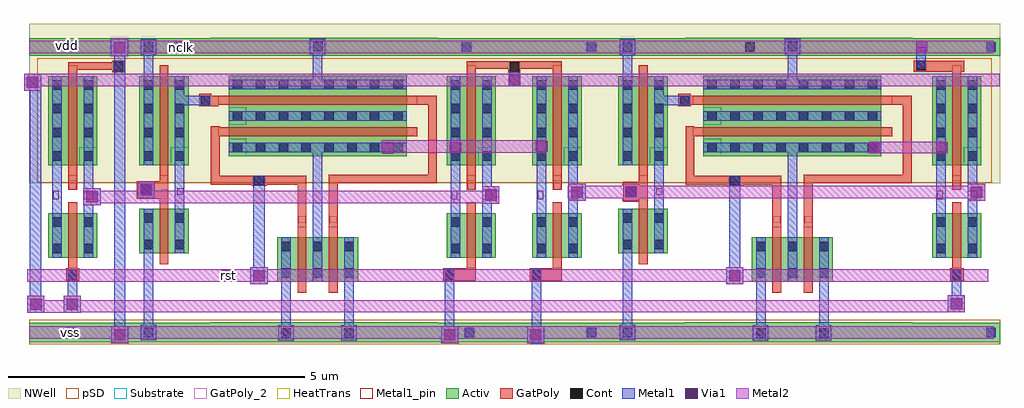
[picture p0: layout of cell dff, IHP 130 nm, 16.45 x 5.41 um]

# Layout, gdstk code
from math import pi, radians
import gdstk
lib = gdstk.Library(unit=1e-6, precision=5e-09)
def R(c, l, rs):  # rectangles x0, y0, x1, y1
    for r in rs: c.add(gdstk.rectangle(r[:2], r[2:], *l))
def A(c, l, x, y, w, h, nx, ny, dx, dy):  # array of equal rectangles
    R(c, l, [(x+i*dx, y+j*dy, x+i*dx+w, y+j*dy+h) for i in range(nx) for j in range(ny)])
Activ = (1, 0)
GatPoly = (5, 0)
GatPoly_2 = (5, 2)
Cont = (6, 0)
Metal1 = (8, 0)
Metal1_pin = (8, 2)
Metal2 = (10, 0)
pSD = (14, 0)
Via1 = (19, 0)
NWell = (31, 0)
Substrate = (40, 0)
HeatTrans = (51, 0)

nmos_5_2 = lib.new_cell('nmos$5$2')
R(nmos_5_2, Activ, [(0,0,0.3,0.3), (0,0,0.83,0.75), (0.53,0,0.83,0.3)])
R(nmos_5_2, GatPoly, [(0.34,-0.18,0.49,0.93)])
R(nmos_5_2, GatPoly_2, [(0.34,-0.18,0.49,0.93)])
R(nmos_5_2, Cont, [(0.07,0.07,0.23,0.23), (0.6,0.07,0.76,0.23), (0.07,0.52,0.23,0.68), (0.6,0.52,0.76,0.68)])
R(nmos_5_2, Metal1, [(0.07,0,0.23,0.75), (0.6,0,0.76,0.75)])
R(nmos_5_2, Metal1_pin, [(0.07,0,0.23,0.75), (0.6,0,0.76,0.75)])
R(nmos_5_2, HeatTrans, [(0.34,-0.18,0.49,0.93)])
nmos_5_2.add(gdstk.Label('nmos', (0.415,0.375), layer=63, texttype=0))
nmos_5_2.add(gdstk.Label('nmos', (0.415,0.375), layer=51, texttype=0))

pmos_5_1 = lib.new_cell('pmos$5$1')
R(pmos_5_1, Activ, [(0,0,0.3,0.3), (0,0,0.83,3), (0.53,0,0.83,0.3)])
R(pmos_5_1, GatPoly, [(0.34,-0.18,0.49,3.18), (0.34,-0.18,0.49,3.18)])
A(pmos_5_1, Cont, 0.07, 0.07, 0.16, 0.16, 1, 7, 0, 0.385)
A(pmos_5_1, Cont, 0.6, 0.07, 0.16, 0.16, 1, 7, 0, 0.385)
R(pmos_5_1, Cont, [(0.07,2.77,0.23,2.93), (0.6,2.77,0.76,2.93)])
R(pmos_5_1, Metal1, [(0.07,0,0.23,3), (0.07,0,0.23,3), (0.6,0,0.76,3), (0.6,0,0.76,3)])
R(pmos_5_1, pSD, [(-0.18,-0.3,1.01,3.3)])
R(pmos_5_1, NWell, [(-0.31,-0.31,1.14,3.31)])
R(pmos_5_1, Substrate, [(0.53,0,0.83,0.3)])
R(pmos_5_1, HeatTrans, [(0.34,-0.18,0.49,3.18)])
pmos_5_1.add(gdstk.Label('pmos', (0.415,1.5), layer=63, texttype=0))
pmos_5_1.add(gdstk.Label('pmos', (0.415,1.5), layer=51, texttype=0))

norgate_1 = lib.new_cell('norgate$1')
R(norgate_1, Activ, [(-1.48,-2.5,2.355,-2.17), (-1.47,2.325,2.355,2.625)])
R(norgate_1, GatPoly, [(-0.01,-0.56,0.14,0.15), (0.52,-0.56,0.67,0.17), (-1.47,0.15,0.14,0.3), (0.52,0.17,2.19,0.32), (2.19,0.17,2.34,1.645), (-1.47,0.3,-1.32,1.135), (-1.47,0.965,-1.35,1.135), (2.01,1.495,2.19,1.645)])
R(norgate_1, GatPoly_2, [(0.005,-0.49,0.13,-0.38), (0.535,-0.49,0.66,-0.38)])
R(norgate_1, Cont, [(-0.28,-2.43,-0.12,-2.27), (-0.28,-2.43,-0.12,-2.27), (0.78,-2.43,0.94,-2.27), (0.78,-2.43,0.94,-2.27), (0.255,2.395,0.415,2.555)])
R(norgate_1, Metal1, [(-0.335,-2.48,-0.075,-2.22), (0.725,-2.48,0.985,-2.22), (-0.28,-2.43,-0.12,-0.74), (0.78,-2.43,0.94,-0.74), (0.25,-0.74,0.41,0.695), (0.25,1.915,0.41,2.345), (0.2,2.345,0.46,2.605)])
R(norgate_1, Metal1_pin, [(-0.25,-2.39,-0.17,-2.3), (0.81,-2.39,0.89,-2.3), (0.255,2.395,0.415,2.555)])
R(norgate_1, pSD, [(-1.48,-2.54,2.355,-2.125)])
R(norgate_1, NWell, [(-1.47,0.315,2.355,2.865), (-1.47,2.295,2.355,2.865)])
norgate_1.add(gdstk.Reference(nmos_5_2, (1.01,-0.74), rotation=pi))
norgate_1.add(gdstk.Reference(nmos_5_2, (-0.35,-1.49)))
norgate_1.add(gdstk.Reference(pmos_5_1, (-1.17,1.985), rotation=3*pi/2))
norgate_1.add(gdstk.Reference(pmos_5_1, (-1.17,1.455), rotation=3*pi/2))
norgate_1.add(gdstk.Label('vdd', (0.325,2.5), layer=8, texttype=2))
norgate_1.add(gdstk.Label('vss', (-0.22,-2.335), layer=8, texttype=2))
norgate_1.add(gdstk.Label('vss', (0.84,-2.335), layer=8, texttype=2))
norgate_1.add(gdstk.Label('b', (0.07,-0.44), layer=5, texttype=2))
norgate_1.add(gdstk.Label('a', (0.6,-0.44), layer=5, texttype=2))

nmos_1 = lib.new_cell('nmos$1')
R(nmos_1, Activ, [(0,0,0.3,0.3), (0,0,0.83,0.75), (0.53,0,0.83,0.3)])
R(nmos_1, GatPoly, [(0.34,-0.18,0.49,0.93)])
R(nmos_1, GatPoly_2, [(0.34,-0.18,0.49,0.93)])
R(nmos_1, Cont, [(0.07,0.07,0.23,0.23), (0.6,0.07,0.76,0.23), (0.07,0.52,0.23,0.68), (0.6,0.52,0.76,0.68)])
R(nmos_1, Metal1, [(0.07,0,0.23,0.75), (0.6,0,0.76,0.75)])
R(nmos_1, Metal1_pin, [(0.07,0,0.23,0.75), (0.6,0,0.76,0.75)])
R(nmos_1, HeatTrans, [(0.34,-0.18,0.49,0.93)])
nmos_1.add(gdstk.Label('nmos', (0.415,0.375), layer=63, texttype=0))
nmos_1.add(gdstk.Label('nmos', (0.415,0.375), layer=51, texttype=0))

pmos_2 = lib.new_cell('pmos$2')
R(pmos_2, Activ, [(0,0,0.3,0.3), (0,0,0.83,1.5), (0.53,0,0.83,0.3)])
R(pmos_2, GatPoly, [(0.34,-0.18,0.49,1.68), (0.34,-0.18,0.49,1.68)])
A(pmos_2, Cont, 0.07, 0.07, 0.16, 0.16, 1, 4, 0, 0.4)
A(pmos_2, Cont, 0.6, 0.07, 0.16, 0.16, 1, 4, 0, 0.4)
R(pmos_2, Metal1, [(0.07,0,0.23,1.5), (0.07,0,0.23,1.5), (0.6,0,0.76,1.5), (0.6,0,0.76,1.5)])
R(pmos_2, pSD, [(-0.18,-0.3,1.01,1.8)])
R(pmos_2, NWell, [(-0.31,-0.31,1.14,1.81)])
R(pmos_2, Substrate, [(0.53,0,0.83,0.3)])
R(pmos_2, HeatTrans, [(0.34,-0.18,0.49,1.68)])
pmos_2.add(gdstk.Label('pmos', (0.415,0.75), layer=63, texttype=0))
pmos_2.add(gdstk.Label('pmos', (0.415,0.75), layer=51, texttype=0))

inverter_1 = lib.new_cell('inverter$1')
R(inverter_1, Activ, [(-0.925,-2.62,0.525,-2.29), (-0.925,2.205,0.525,2.505)])
R(inverter_1, GatPoly, [(-0.275,-0.195,-0.125,0.185)])
R(inverter_1, GatPoly_2, [(-0.25,-0.14,-0.155,-0.04)])
R(inverter_1, Cont, [(-0.545,-2.535,-0.385,-2.375), (-0.545,-2.535,-0.385,-2.375), (-0.545,2.275,-0.385,2.435)])
R(inverter_1, Metal1, [(-0.595,-2.585,-0.335,-2.325), (-0.545,-2.325,-0.385,-0.845), (-0.015,-0.375,0.145,0.365), (-0.545,1.865,-0.385,2.275), (-0.595,2.225,-0.335,2.485)])
R(inverter_1, Metal1_pin, [(0.02,-0.135,0.12,-0.03)])
R(inverter_1, pSD, [(-0.925,-2.66,0.525,-2.245)])
R(inverter_1, NWell, [(-0.925,2.175,0.525,2.745)])
inverter_1.add(gdstk.Reference(nmos_1, (-0.615,-1.125)))
inverter_1.add(gdstk.Reference(pmos_2, (-0.615,0.365)))
inverter_1.add(gdstk.Label('vss', (-0.475,-2.43), layer=8, texttype=2))
inverter_1.add(gdstk.Label('vdd', (-0.465,2.355), layer=8, texttype=2))
inverter_1.add(gdstk.Label('out', (0.06,-0.09), layer=8, texttype=2))
inverter_1.add(gdstk.Label('in', (-0.205,-0.09), layer=5, texttype=2))

nmos_5_3 = lib.new_cell('nmos$5$3')
R(nmos_5_3, Activ, [(0,0,0.3,0.3), (0,0,0.83,0.75), (0.53,0,0.83,0.3)])
R(nmos_5_3, GatPoly, [(0.34,-0.18,0.49,0.93)])
R(nmos_5_3, GatPoly_2, [(0.34,-0.18,0.49,0.93)])
R(nmos_5_3, Cont, [(0.07,0.07,0.23,0.23), (0.6,0.07,0.76,0.23), (0.07,0.52,0.23,0.68), (0.6,0.52,0.76,0.68)])
R(nmos_5_3, Metal1, [(0.07,0,0.23,0.75), (0.6,0,0.76,0.75)])
R(nmos_5_3, Metal1_pin, [(0.07,0,0.23,0.75), (0.6,0,0.76,0.75)])
R(nmos_5_3, HeatTrans, [(0.34,-0.18,0.49,0.93)])
nmos_5_3.add(gdstk.Label('nmos', (0.415,0.375), layer=63, texttype=0))
nmos_5_3.add(gdstk.Label('nmos', (0.415,0.375), layer=51, texttype=0))

pmos_3 = lib.new_cell('pmos$3')
R(pmos_3, Activ, [(0,0,0.3,0.3), (0,0,0.83,1.5), (0.53,0,0.83,0.3)])
R(pmos_3, GatPoly, [(0.34,-0.18,0.49,1.68), (0.34,-0.18,0.49,1.68)])
A(pmos_3, Cont, 0.07, 0.07, 0.16, 0.16, 1, 4, 0, 0.4)
A(pmos_3, Cont, 0.6, 0.07, 0.16, 0.16, 1, 4, 0, 0.4)
R(pmos_3, Metal1, [(0.07,0,0.23,1.5), (0.07,0,0.23,1.5), (0.6,0,0.76,1.5), (0.6,0,0.76,1.5)])
R(pmos_3, pSD, [(-0.18,-0.3,1.01,1.8)])
R(pmos_3, NWell, [(-0.31,-0.31,1.14,1.81)])
R(pmos_3, Substrate, [(0.53,0,0.83,0.3)])
R(pmos_3, HeatTrans, [(0.34,-0.18,0.49,1.68)])
pmos_3.add(gdstk.Label('pmos', (0.415,0.75), layer=63, texttype=0))
pmos_3.add(gdstk.Label('pmos', (0.415,0.75), layer=51, texttype=0))

transmissiongate_1 = lib.new_cell('transmissiongate$1')
R(transmissiongate_1, Activ, [(2.295,-2.62,3.745,-2.29), (2.315,2.205,3.745,2.505)])
R(transmissiongate_1, GatPoly, [(2.945,-0.055,3.095,0.185)])
R(transmissiongate_1, GatPoly_2, [(2.98,-0.43,3.09,-0.27), (2.96,-0.055,3.08,0.105)])
R(transmissiongate_1, Cont, [(2.91,-2.54,3.07,-2.38), (2.86,2.275,3.02,2.435)])
R(transmissiongate_1, Metal1, [(2.91,-2.54,3.07,-2.38), (2.91,-2.54,3.07,-2.38), (2.675,-0.445,2.835,-0.21), (3.205,-0.445,3.365,-0.21), (2.675,-0.21,2.835,0.365), (3.205,-0.21,3.365,0.365), (2.86,2.275,3.02,2.435)])
R(transmissiongate_1, Metal1_pin, [(2.91,-2.54,3.07,-2.38), (2.69,-0.21,2.785,-0.07), (3.205,-0.21,3.365,-0.07), (2.86,2.275,3.02,2.435)])
R(transmissiongate_1, pSD, [(2.295,-2.66,3.745,-2.245)])
R(transmissiongate_1, NWell, [(2.295,2.175,3.745,2.745)])
transmissiongate_1.add(gdstk.Reference(nmos_5_3, (2.605,-1.195)))
transmissiongate_1.add(gdstk.Reference(pmos_3, (2.605,0.365)))
transmissiongate_1.add(gdstk.Label('vdd', (2.93,2.38), layer=8, texttype=2))
transmissiongate_1.add(gdstk.Label('vss', (2.985,-2.46), layer=8, texttype=2))
transmissiongate_1.add(gdstk.Label('out', (3.285,-0.14), layer=8, texttype=2))
transmissiongate_1.add(gdstk.Label('in', (2.73,-0.14), layer=8, texttype=2))
transmissiongate_1.add(gdstk.Label('en', (3.015,-0.355), layer=5, texttype=2))
transmissiongate_1.add(gdstk.Label('noten', (3.025,0.02), layer=5, texttype=2))

nmos_5 = lib.new_cell('nmos$5')
R(nmos_5, Activ, [(0,0,0.3,0.3), (0,0,0.83,0.75), (0.53,0,0.83,0.3)])
R(nmos_5, GatPoly, [(0.34,-0.18,0.49,0.93)])
R(nmos_5, GatPoly_2, [(0.34,-0.18,0.49,0.93)])
R(nmos_5, Cont, [(0.07,0.07,0.23,0.23), (0.6,0.07,0.76,0.23), (0.07,0.52,0.23,0.68), (0.6,0.52,0.76,0.68)])
R(nmos_5, Metal1, [(0.07,0,0.23,0.75), (0.6,0,0.76,0.75)])
R(nmos_5, Metal1_pin, [(0.07,0,0.23,0.75), (0.6,0,0.76,0.75)])
R(nmos_5, HeatTrans, [(0.34,-0.18,0.49,0.93)])
nmos_5.add(gdstk.Label('nmos', (0.415,0.375), layer=63, texttype=0))
nmos_5.add(gdstk.Label('nmos', (0.415,0.375), layer=51, texttype=0))

pmos = lib.new_cell('pmos')
R(pmos, Activ, [(0,0,0.3,0.3), (0,0,0.83,1.5), (0.53,0,0.83,0.3)])
R(pmos, GatPoly, [(0.34,-0.18,0.49,1.68), (0.34,-0.18,0.49,1.68)])
A(pmos, Cont, 0.07, 0.07, 0.16, 0.16, 1, 4, 0, 0.4)
A(pmos, Cont, 0.6, 0.07, 0.16, 0.16, 1, 4, 0, 0.4)
R(pmos, Metal1, [(0.07,0,0.23,1.5), (0.07,0,0.23,1.5), (0.6,0,0.76,1.5), (0.6,0,0.76,1.5)])
R(pmos, pSD, [(-0.18,-0.3,1.01,1.8)])
R(pmos, NWell, [(-0.31,-0.31,1.14,1.81)])
R(pmos, Substrate, [(0.53,0,0.83,0.3)])
R(pmos, HeatTrans, [(0.34,-0.18,0.49,1.68)])
pmos.add(gdstk.Label('pmos', (0.415,0.75), layer=63, texttype=0))
pmos.add(gdstk.Label('pmos', (0.415,0.75), layer=51, texttype=0))

transmissiongate = lib.new_cell('transmissiongate')
R(transmissiongate, Activ, [(2.295,-2.62,3.745,-2.29), (2.315,2.205,3.745,2.505)])
R(transmissiongate, GatPoly, [(2.945,-0.055,3.095,0.185)])
R(transmissiongate, GatPoly_2, [(2.98,-0.43,3.09,-0.27), (2.96,-0.055,3.08,0.105)])
R(transmissiongate, Cont, [(3.52,-2.54,3.68,-2.38), (3.52,2.275,3.68,2.435)])
R(transmissiongate, Metal1, [(3.52,-2.54,3.68,-2.38), (3.52,-2.54,3.68,-2.38), (2.675,-0.445,2.835,-0.21), (3.205,-0.445,3.365,-0.21), (2.675,-0.21,2.835,0.365), (3.205,-0.21,3.365,0.365), (3.52,2.275,3.68,2.435)])
R(transmissiongate, Metal1_pin, [(3.52,-2.54,3.68,-2.38), (2.69,-0.21,2.785,-0.07), (3.205,-0.21,3.365,-0.07), (3.52,2.275,3.68,2.435)])
R(transmissiongate, pSD, [(2.295,-2.66,3.745,-2.245)])
R(transmissiongate, NWell, [(2.295,2.175,3.745,2.745)])
transmissiongate.add(gdstk.Reference(nmos_5, (2.605,-1.195)))
transmissiongate.add(gdstk.Reference(pmos, (2.605,0.365)))
transmissiongate.add(gdstk.Label('vdd', (3.59,2.38), layer=8, texttype=2))
transmissiongate.add(gdstk.Label('vss', (3.595,-2.46), layer=8, texttype=2))
transmissiongate.add(gdstk.Label('out', (3.285,-0.14), layer=8, texttype=2))
transmissiongate.add(gdstk.Label('in', (2.73,-0.14), layer=8, texttype=2))
transmissiongate.add(gdstk.Label('en', (3.015,-0.355), layer=5, texttype=2))
transmissiongate.add(gdstk.Label('noten', (3.025,0.02), layer=5, texttype=2))

dff = lib.new_cell('dff')
R(dff, Activ, [(2.745,-2.62,19.105,-2.29), (2.745,2.205,19.105,2.505)])
R(dff, GatPoly, [(3.365,-1.585,3.59,-1.375), (9.72,-1.585,9.945,-1.375), (9.945,-1.585,10.27,-1.375), (10.12,-1.585,10.27,-1.375), (11.18,-1.585,11.405,-1.375), (11.405,-1.585,11.715,-1.375), (11.565,-1.585,11.715,-1.375), (18.265,-1.585,18.49,-1.375), (12.755,-0.255,13.015,0.085), (4.555,-0.2,4.94,0.095), (6.49,0.015,6.745,0.035), (14.51,0.015,14.765,0.035), (5.605,1.355,5.815,1.565), (5.815,1.355,5.925,1.53), (13.685,1.355,13.895,1.565), (13.685,1.38,13.925,1.53), (10.815,1.92,11.015,2.115), (4.14,1.925,4.35,2.125), (17.65,1.935,18.275,2.125), (18.275,1.935,18.5,2.125), (3.4,1.97,4.14,2.1), (10.12,1.985,10.985,2.115), (10.85,1.985,11.715,2.115)])
R(dff, Cont, [(3.365,-2.54,3.525,-2.38), (3.365,-2.54,3.525,-2.38), (3.365,-2.54,3.525,-2.38), (3.365,-2.54,3.525,-2.38), (3.395,-1.565,3.555,-1.405), (9.75,-1.565,9.91,-1.405), (11.21,-1.565,11.37,-1.405), (18.295,-1.565,18.455,-1.405), (12.805,-0.165,12.965,-0.005), (4.635,-0.13,4.795,0.03), (6.535,0.025,6.695,0.185), (14.555,0.025,14.715,0.185), (5.635,1.375,5.795,1.535), (13.715,1.375,13.875,1.535), (10.84,1.94,11,2.1), (4.17,1.945,4.33,2.105), (17.69,1.96,17.85,2.12), (3.32,2.275,3.48,2.435), (3.32,2.275,3.48,2.435), (3.32,2.275,3.48,2.435), (3.32,2.275,3.48,2.435), (14.81,2.275,14.97,2.435)])
R(dff, Metal1, [(11.21,-2.66,11.37,-1.375), (4.125,-2.64,4.415,-2.35), (9.685,-2.64,9.975,-2.35), (11.135,-2.64,11.425,-2.35), (3.365,-2.54,3.525,-2.38), (3.365,-2.54,3.525,-2.38), (3.365,-2.54,3.525,-2.38), (3.365,-2.54,3.525,-2.38), (3.365,-2.54,3.525,-2.38), (3.365,-2.54,3.525,-2.38), (3.365,-2.54,3.525,-2.38), (3.365,-2.54,3.525,-2.38), (4.175,-2.35,4.365,2.33), (9.75,-2.35,9.91,-1.375), (2.71,-2.125,3,-1.835), (3.325,-2.125,3.615,-1.835), (18.225,-2.12,18.515,-1.83), (2.755,-1.835,2.945,1.615), (3.395,-1.835,3.555,-1.405), (18.295,-1.83,18.455,-1.405), (6.47,-1.645,6.76,-1.355), (14.49,-1.645,14.78,-1.355), (5.98,-1.605,6.21,-1.395), (5.98,-1.605,6.215,-1.395), (6.52,-1.595,6.71,0.185), (14.54,-1.595,14.73,0.185), (3.655,-0.315,3.945,-0.025), (10.375,-0.285,10.665,0.005), (11.83,-0.24,12.12,0.05), (18.565,-0.24,18.855,0.05), (4.57,-0.195,4.86,0.095), (12.805,-0.165,12.965,-0.005), (5.195,1.375,5.795,1.535), (13.275,1.375,13.875,1.535), (2.655,1.615,2.945,1.905), (10.84,1.72,11,1.94), (17.69,1.985,17.85,2.35), (4.12,2.2,4.41,2.49), (5.185,2.25,5.465,2.46), (3.32,2.275,3.48,2.435), (3.32,2.275,3.48,2.435), (3.32,2.275,3.48,2.435), (3.32,2.275,3.48,2.435)])
R(dff, Metal1_pin, [(3.365,-2.54,3.525,-2.38), (3.365,-2.54,3.525,-2.38), (3.365,-2.54,3.525,-2.38), (3.365,-2.54,3.525,-2.38), (5.98,-1.605,6.21,-1.395), (5.2,2.25,5.43,2.46), (3.32,2.275,3.48,2.435), (3.32,2.275,3.48,2.435), (3.32,2.275,3.48,2.435), (3.32,2.275,3.48,2.435)])
R(dff, Metal2, [(4.125,-2.64,4.415,-2.35), (9.685,-2.64,9.975,-2.35), (11.135,-2.64,11.425,-2.35), (2.745,-2.56,19,-2.35), (2.71,-2.125,3,-1.835), (3,-2.125,3.325,-1.915), (3.325,-2.125,3.615,-1.835), (3.615,-2.12,18.225,-1.915), (18.225,-2.12,18.515,-1.83), (6.47,-1.645,6.76,-1.355), (14.49,-1.645,14.78,-1.355), (2.71,-1.605,18.905,-1.395), (3.655,-0.315,3.945,-0.025), (10.375,-0.285,10.665,0.005), (3.655,-0.28,10.545,-0.07), (11.83,-0.24,12.12,0.05), (12.735,-0.24,13.025,0.05), (18.565,-0.24,18.855,0.05), (4.57,-0.195,4.86,0.095), (11.82,-0.195,18.705,0.015), (16.9,0.56,18.205,0.76), (8.685,0.57,11.46,0.78), (2.655,1.615,2.945,1.905), (2.945,1.695,19.1,1.905), (4.12,2.2,4.41,2.49), (2.745,2.25,19,2.46)])
R(dff, pSD, [(2.745,-2.66,19.105,-2.245), (2.88,0.065,18.97,2.165)])
R(dff, Via1, [(4.175,-2.59,4.365,-2.4), (9.735,-2.59,9.925,-2.4), (11.185,-2.59,11.375,-2.4), (2.76,-2.075,2.95,-1.885), (3.375,-2.075,3.565,-1.885), (18.275,-2.07,18.465,-1.88), (6.005,-1.595,6.195,-1.405), (6.52,-1.595,6.71,-1.405), (14.54,-1.595,14.73,-1.405), (3.705,-0.265,3.895,-0.075), (10.43,-0.235,10.62,-0.045), (11.88,-0.19,12.07,0), (18.615,-0.19,18.805,0), (12.79,-0.18,12.98,0.01), (4.62,-0.145,4.81,0.045), (8.695,0.56,8.885,0.75), (9.835,0.56,10.025,0.75), (16.89,0.56,17.08,0.75), (18.03,0.56,18.22,0.75), (9.85,0.575,10.01,0.735), (11.28,0.58,11.47,0.77), (2.705,1.665,2.895,1.855), (10.825,1.695,11.015,1.885), (4.17,2.25,4.36,2.44), (5.225,2.26,5.415,2.45), (17.69,2.27,17.88,2.46)])
R(dff, NWell, [(2.745,0.055,19.105,2.75), (2.745,2.205,19.105,2.745)])
dff.add(gdstk.Reference(norgate_1, (7.275,-0.115)))
dff.add(gdstk.Reference(inverter_1, (5.215,0)))
dff.add(gdstk.Reference(norgate_1, (15.275,-0.115)))
dff.add(gdstk.Reference(inverter_1, (13.29,0)))
dff.add(gdstk.Reference(transmissiongate_1, (0.455,0)))
dff.add(gdstk.Reference(transmissiongate_1, (7.175,0)))
dff.add(gdstk.Reference(transmissiongate, (8.62,0)))
dff.add(gdstk.Reference(transmissiongate, (15.355,0)))
dff.add(gdstk.Label('vss', (3.44,-2.46), layer=8, texttype=2))
dff.add(gdstk.Label('vss', (3.44,-2.46), layer=8, texttype=2))
dff.add(gdstk.Label('vss', (3.44,-2.46), layer=8, texttype=2))
dff.add(gdstk.Label('vss', (3.44,-2.46), layer=8, texttype=2))
dff.add(gdstk.Label('vdd', (3.39,2.38), layer=8, texttype=2))
dff.add(gdstk.Label('vdd', (3.39,2.38), layer=8, texttype=2))
dff.add(gdstk.Label('vdd', (3.39,2.38), layer=8, texttype=2))
dff.add(gdstk.Label('vdd', (3.39,2.38), layer=8, texttype=2))
dff.add(gdstk.Label('rst', (6.095,-1.5), layer=8, texttype=2))
dff.add(gdstk.Label('nclk', (5.315,2.34), layer=8, texttype=2))

lib.write_gds('dff.gds')
